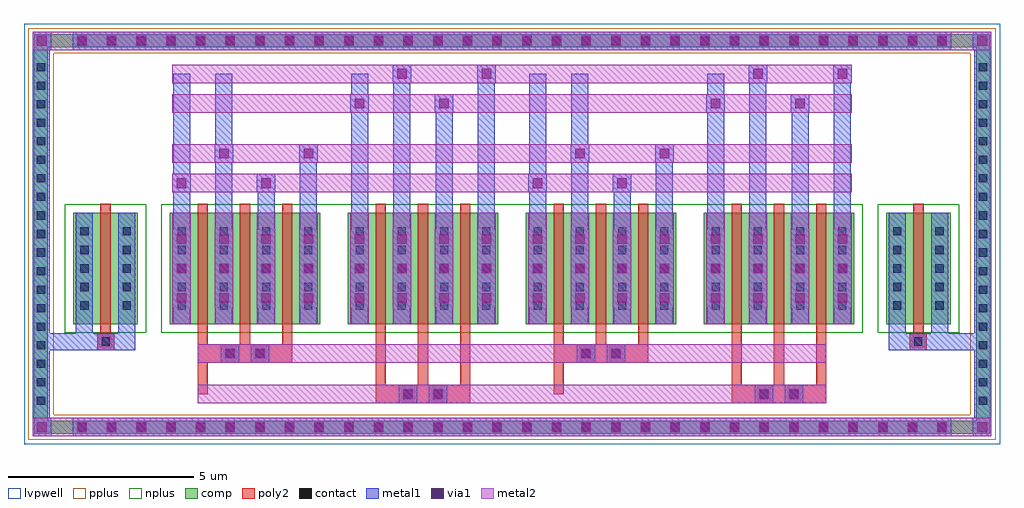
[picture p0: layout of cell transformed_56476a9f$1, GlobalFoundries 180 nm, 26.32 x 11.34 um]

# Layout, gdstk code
import gdstk
lib = gdstk.Library(unit=1e-6, precision=5e-09)
def R(c, l, rs):  # rectangles x0, y0, x1, y1
    for r in rs: c.add(gdstk.rectangle(r[:2], r[2:], *l))
def A(c, l, x, y, w, h, nx, ny, dx, dy):  # array of equal rectangles
    R(c, l, [(x+i*dx, y+j*dy, x+i*dx+w, y+j*dy+h) for i in range(nx) for j in range(ny)])
def P(c, l, *ps):  # polygons
    for p in ps: c.add(gdstk.Polygon(p, *l))
comp = (22, 0)
poly2 = (30, 0)
pplus = (31, 0)
nplus = (32, 0)
contact = (33, 0)
metal1 = (34, 0)
via1 = (35, 0)
metal2 = (36, 0)
lvpwell = (204, 0)

unnamed_ce760e79_1_1 = lib.new_cell('Unnamed_ce760e79$1$1')
A(unnamed_ce760e79_1_1, comp, -11.78, -5.39, 0.36, 0.36, 30, 2, 0.8, 10.42)
A(unnamed_ce760e79_1_1, comp, -12.88, -4.68, 0.36, 0.36, 1, 19, 0, 0.5)
A(unnamed_ce760e79_1_1, comp, 12.52, -4.68, 0.36, 0.36, 1, 19, 0, 0.5)
R(unnamed_ce760e79_1_1, comp, [(-11.78,-5.39,11.78,-5.03), (-12.88,-4.68,-12.52,4.68), (12.52,-4.68,12.88,4.68), (-11.78,5.03,11.78,5.39)])
P(unnamed_ce760e79_1_1, comp, [(-12.88,-5.39),(-12.88,-5.03),(-12.52,-5.03),(12.52,-5.03),(12.52,5.03),(-12.52,5.03),(-12.52,-5.03),(-12.88,-5.03),(-12.88,5.39),(12.88,5.39),(12.88,-5.39)])
P(unnamed_ce760e79_1_1, pplus, [(-13.04,-5.55),(-13.04,-4.87),(-12.36,-4.87),(12.36,-4.87),(12.36,4.87),(-12.36,4.87),(-12.36,-4.87),(-13.04,-4.87),(-13.04,5.55),(13.04,5.55),(13.04,-5.55)])
A(unnamed_ce760e79_1_1, contact, -11.71, -5.32, 0.22, 0.22, 30, 2, 0.8, 10.42)
A(unnamed_ce760e79_1_1, contact, -12.81, -4.61, 0.22, 0.22, 1, 19, 0, 0.5)
A(unnamed_ce760e79_1_1, contact, 12.59, -4.61, 0.22, 0.22, 1, 19, 0, 0.5)
A(unnamed_ce760e79_1_1, metal1, -11.85, -5.46, 0.5, 0.5, 30, 2, 0.8, 10.42)
A(unnamed_ce760e79_1_1, metal1, -12.93, -4.73, 0.46, 0.46, 1, 19, 0, 0.5)
A(unnamed_ce760e79_1_1, metal1, 12.47, -4.73, 0.46, 0.46, 1, 19, 0, 0.5)
R(unnamed_ce760e79_1_1, metal1, [(-12.93,-5.46,-12.43,-4.96), (-12.93,-5.46,-12.43,-4.96), (-12.93,-5.46,-12.47,-5.03), (-11.85,-5.46,11.85,-4.96), (12.43,-5.46,12.93,-4.96), (12.43,-5.46,12.93,-4.96), (12.47,-5.46,12.93,-5.03), (-12.93,-5.03,-12.47,5.03), (12.47,-5.03,12.93,5.03), (-12.93,4.96,-12.43,5.46), (-12.93,4.96,-12.43,5.46), (-11.85,4.96,11.85,5.46), (12.43,4.96,12.93,5.46), (12.43,4.96,12.93,5.46), (-12.93,5.03,-12.47,5.46), (12.47,5.03,12.93,5.46)])
A(unnamed_ce760e79_1_1, via1, -11.73, -5.34, 0.26, 0.26, 30, 2, 0.8, 10.42)
R(unnamed_ce760e79_1_1, via1, [(-12.81,-5.34,-12.55,-5.08), (12.55,-5.34,12.81,-5.08), (-12.81,5.08,-12.55,5.34), (12.55,5.08,12.81,5.34)])
A(unnamed_ce760e79_1_1, metal2, -11.85, -5.46, 0.5, 0.5, 30, 2, 0.8, 10.42)
R(unnamed_ce760e79_1_1, metal2, [(-12.93,-5.46,-12.52,-4.96), (-12.93,-5.46,-12.43,-4.96), (-12.93,-5.46,-12.43,-4.96), (-12.52,-5.46,12.52,-4.96), (12.43,-5.46,12.93,-4.96), (12.43,-5.46,12.93,-4.96), (12.52,-5.46,12.93,-4.96), (-12.93,4.96,-12.52,5.46), (-12.93,4.96,-12.43,5.46), (-12.93,4.96,-12.43,5.46), (-12.52,4.96,12.52,5.46), (12.43,4.96,12.93,5.46), (12.43,4.96,12.93,5.46), (12.52,4.96,12.93,5.46)])

straight_route_217dddb0_ = lib.new_cell('straight_route_217dddb0$1')
R(straight_route_217dddb0_, metal1, [(-12.93,-3.13,-11.19,-2.67)])

straight_route_a57194aa_ = lib.new_cell('straight_route_a57194aa$1')
R(straight_route_a57194aa_, metal1, [(11.19,-3.13,12.93,-2.67)])

transformed_56476a9f_1 = lib.new_cell('transformed_56476a9f$1')
A(transformed_56476a9f_1, comp, -9.23, -2.43, 4.06, 3, 4, 1, 4.8, 0)
R(transformed_56476a9f_1, comp, [(-11.83,-2.43,-10.09,0.57), (10.09,-2.43,11.83,0.57)])
A(transformed_56476a9f_1, poly2, -3.68, -4.07, 0.28, 1.4, 3, 1, 1.14, 0)
A(transformed_56476a9f_1, poly2, 5.92, -4.07, 0.28, 1.4, 3, 1, 1.14, 0)
A(transformed_56476a9f_1, poly2, -8.48, -2.97, 0.28, 0.3, 3, 1, 1.14, 0)
A(transformed_56476a9f_1, poly2, 1.12, -2.97, 0.28, 0.3, 3, 1, 1.14, 0)
A(transformed_56476a9f_1, poly2, -8.48, -2.67, 0.28, 3.48, 3, 1, 1.14, 0)
A(transformed_56476a9f_1, poly2, -3.68, -2.67, 0.28, 3.48, 3, 1, 1.14, 0)
A(transformed_56476a9f_1, poly2, 1.12, -2.67, 0.28, 3.48, 3, 1, 1.14, 0)
A(transformed_56476a9f_1, poly2, 5.92, -2.67, 0.28, 3.48, 3, 1, 1.14, 0)
R(transformed_56476a9f_1, poly2, [(-3.68,-4.57,-1.12,-4.07), (5.92,-4.57,8.48,-4.07), (-2.98,-4.5,-2.62,-4.14), (-2.18,-4.5,-1.82,-4.14), (6.62,-4.5,6.98,-4.14), (7.42,-4.5,7.78,-4.14), (-8.48,-4.32,-8.2,-2.67), (1.12,-4.32,1.4,-2.67), (-8.48,-3.47,-5.92,-2.97), (1.12,-3.47,3.68,-2.97), (-7.78,-3.4,-7.42,-3.04), (-6.98,-3.4,-6.62,-3.04), (1.82,-3.4,2.18,-3.04), (2.62,-3.4,2.98,-3.04), (-11.19,-3.13,-10.73,-2.67), (10.73,-3.13,11.19,-2.67), (-11.14,-3.08,-10.78,-2.72), (10.78,-3.08,11.14,-2.72), (-11.1,-2.67,-10.82,0.81), (10.82,-2.67,11.1,0.81)])
A(transformed_56476a9f_1, nplus, -9.46, -2.66, 4.52, 3.46, 4, 1, 4.8, 0)
R(transformed_56476a9f_1, nplus, [(-12.06,-2.66,-9.86,0.8), (-9.46,-2.66,9.46,0.8), (9.86,-2.66,12.06,0.8)])
A(transformed_56476a9f_1, contact, -11.64, -2.04, 0.22, 0.22, 1, 5, 0, 0.5)
A(transformed_56476a9f_1, contact, -10.5, -2.04, 0.22, 0.22, 1, 5, 0, 0.5)
A(transformed_56476a9f_1, contact, -9.02, -2.04, 0.22, 0.22, 4, 5, 1.14, 0.5)
A(transformed_56476a9f_1, contact, -4.22, -2.04, 0.22, 0.22, 4, 5, 1.14, 0.5)
A(transformed_56476a9f_1, contact, 0.58, -2.04, 0.22, 0.22, 4, 5, 1.14, 0.5)
A(transformed_56476a9f_1, contact, 5.38, -2.04, 0.22, 0.22, 4, 5, 1.14, 0.5)
A(transformed_56476a9f_1, contact, 10.28, -2.04, 0.22, 0.22, 1, 5, 0, 0.5)
A(transformed_56476a9f_1, contact, 11.42, -2.04, 0.22, 0.22, 1, 5, 0, 0.5)
R(transformed_56476a9f_1, contact, [(-2.91,-4.43,-2.69,-4.21), (-2.11,-4.43,-1.89,-4.21), (6.69,-4.43,6.91,-4.21), (7.49,-4.43,7.71,-4.21), (-7.71,-3.33,-7.49,-3.11), (-6.91,-3.33,-6.69,-3.11), (1.89,-3.33,2.11,-3.11), (2.69,-3.33,2.91,-3.11), (-11.07,-3.01,-10.85,-2.79), (10.85,-3.01,11.07,-2.79)])
A(transformed_56476a9f_1, metal1, -9.14, -2.43, 0.46, 3, 4, 1, 1.14, 0)
A(transformed_56476a9f_1, metal1, -4.34, -2.43, 0.46, 3, 4, 1, 1.14, 0)
A(transformed_56476a9f_1, metal1, 0.46, -2.43, 0.46, 3, 4, 1, 1.14, 0)
A(transformed_56476a9f_1, metal1, 5.26, -2.43, 0.46, 3, 4, 1, 1.14, 0)
A(transformed_56476a9f_1, metal1, -11.76, -2.16, 0.46, 0.46, 1, 5, 0, 0.5)
A(transformed_56476a9f_1, metal1, -10.62, -2.16, 0.46, 0.46, 1, 5, 0, 0.5)
A(transformed_56476a9f_1, metal1, -9.14, -2.16, 0.46, 0.46, 4, 5, 1.14, 0.5)
A(transformed_56476a9f_1, metal1, -4.34, -2.16, 0.46, 0.46, 4, 5, 1.14, 0.5)
A(transformed_56476a9f_1, metal1, 0.46, -2.16, 0.46, 0.46, 4, 5, 1.14, 0.5)
A(transformed_56476a9f_1, metal1, 5.26, -2.16, 0.46, 0.46, 4, 5, 1.14, 0.5)
A(transformed_56476a9f_1, metal1, 10.16, -2.16, 0.46, 0.46, 1, 5, 0, 0.5)
A(transformed_56476a9f_1, metal1, 11.3, -2.16, 0.46, 0.46, 1, 5, 0, 0.5)
A(transformed_56476a9f_1, metal1, -9.16, -1.98, 0.5, 0.5, 4, 3, 1.14, 0.8)
A(transformed_56476a9f_1, metal1, -9.16, -1.98, 0.5, 2.1, 4, 1, 1.14, 0)
A(transformed_56476a9f_1, metal1, -4.36, -1.98, 0.5, 0.5, 4, 3, 1.14, 0.8)
A(transformed_56476a9f_1, metal1, -4.36, -1.98, 0.5, 2.1, 4, 1, 1.14, 0)
A(transformed_56476a9f_1, metal1, 0.44, -1.98, 0.5, 0.5, 4, 3, 1.14, 0.8)
A(transformed_56476a9f_1, metal1, 0.44, -1.98, 0.5, 2.1, 4, 1, 1.14, 0)
A(transformed_56476a9f_1, metal1, 5.24, -1.98, 0.5, 0.5, 4, 3, 1.14, 0.8)
A(transformed_56476a9f_1, metal1, 5.24, -1.98, 0.5, 2.1, 4, 1, 1.14, 0)
R(transformed_56476a9f_1, metal1, [(-3.05,-4.57,-2.55,-4.07), (-2.25,-4.57,-1.75,-4.07), (6.55,-4.57,7.05,-4.07), (7.35,-4.57,7.85,-4.07), (-7.85,-3.47,-7.35,-2.97), (-7.05,-3.47,-6.55,-2.97), (1.75,-3.47,2.25,-2.97), (2.55,-3.47,3.05,-2.97), (-11.76,-3.13,-11.19,-2.67), (-11.76,-3.13,-11.3,-2.43), (-11.19,-3.13,-10.73,-2.67), (-10.73,-3.13,-10.16,-2.67), (-10.62,-3.13,-10.16,-2.43), (10.16,-3.13,10.73,-2.67), (10.16,-3.13,10.62,-2.43), (10.73,-3.13,11.19,-2.67), (11.19,-3.13,11.76,-2.67), (11.3,-3.13,11.76,-2.43), (-11.76,-2.43,-11.3,0.57), (-10.62,-2.43,-10.16,0.57), (10.16,-2.43,10.62,0.57), (11.3,-2.43,11.76,0.57), (-9.14,0.57,-8.68,1.62), (-9.14,0.57,-8.68,4.32), (-8,0.57,-7.54,2.42), (-8,0.57,-7.54,4.32), (-6.86,0.57,-6.4,1.62), (-5.72,0.57,-5.26,2.42), (-4.34,0.57,-3.88,3.77), (-4.34,0.57,-3.88,4.32), (-3.2,0.57,-2.74,4.57), (-3.2,0.57,-2.74,4.32), (-2.06,0.57,-1.6,3.77), (-0.92,0.57,-0.46,4.57), (0.46,0.57,0.92,1.62), (0.46,0.57,0.92,4.32), (1.6,0.57,2.06,2.42), (1.6,0.57,2.06,4.32), (2.74,0.57,3.2,1.62), (3.88,0.57,4.34,2.42), (5.26,0.57,5.72,3.77), (5.26,0.57,5.72,4.32), (6.4,0.57,6.86,4.57), (6.4,0.57,6.86,4.32), (7.54,0.57,8,3.77), (8.68,0.57,9.14,4.57), (-9.16,1.12,-8.66,1.62), (-6.88,1.12,-6.38,1.62), (0.44,1.12,0.94,1.62), (2.72,1.12,3.22,1.62), (-8.02,1.92,-7.52,2.42), (-5.74,1.92,-5.24,2.42), (1.58,1.92,2.08,2.42), (3.86,1.92,4.36,2.42), (-4.36,3.27,-3.86,3.77), (-2.08,3.27,-1.58,3.77), (5.24,3.27,5.74,3.77), (7.52,3.27,8.02,3.77), (-3.22,4.07,-2.72,4.57), (-0.94,4.07,-0.44,4.57), (6.38,4.07,6.88,4.57), (8.66,4.07,9.16,4.57)])
A(transformed_56476a9f_1, via1, -9.04, -1.86, 0.26, 0.26, 4, 3, 1.14, 0.8)
A(transformed_56476a9f_1, via1, -4.24, -1.86, 0.26, 0.26, 4, 3, 1.14, 0.8)
A(transformed_56476a9f_1, via1, 0.56, -1.86, 0.26, 0.26, 4, 3, 1.14, 0.8)
A(transformed_56476a9f_1, via1, 5.36, -1.86, 0.26, 0.26, 4, 3, 1.14, 0.8)
R(transformed_56476a9f_1, via1, [(-2.93,-4.45,-2.67,-4.19), (-2.13,-4.45,-1.87,-4.19), (6.67,-4.45,6.93,-4.19), (7.47,-4.45,7.73,-4.19), (-7.73,-3.35,-7.47,-3.09), (-6.93,-3.35,-6.67,-3.09), (1.87,-3.35,2.13,-3.09), (2.67,-3.35,2.93,-3.09), (-9.04,1.24,-8.78,1.5), (-6.76,1.24,-6.5,1.5), (0.56,1.24,0.82,1.5), (2.84,1.24,3.1,1.5), (-7.9,2.04,-7.64,2.3), (-5.62,2.04,-5.36,2.3), (1.7,2.04,1.96,2.3), (3.98,2.04,4.24,2.3), (-4.24,3.39,-3.98,3.65), (-1.96,3.39,-1.7,3.65), (5.36,3.39,5.62,3.65), (7.64,3.39,7.9,3.65), (-3.1,4.19,-2.84,4.45), (-0.82,4.19,-0.56,4.45), (6.5,4.19,6.76,4.45), (8.78,4.19,9.04,4.45)])
A(transformed_56476a9f_1, metal2, -9.16, -2.43, 0.5, 3, 4, 1, 1.14, 0)
A(transformed_56476a9f_1, metal2, -4.36, -2.43, 0.5, 3, 4, 1, 1.14, 0)
A(transformed_56476a9f_1, metal2, 0.44, -2.43, 0.5, 3, 4, 1, 1.14, 0)
A(transformed_56476a9f_1, metal2, 5.24, -2.43, 0.5, 3, 4, 1, 1.14, 0)
A(transformed_56476a9f_1, metal2, -9.16, -1.98, 0.5, 0.5, 4, 3, 1.14, 0.8)
A(transformed_56476a9f_1, metal2, -4.36, -1.98, 0.5, 0.5, 4, 3, 1.14, 0.8)
A(transformed_56476a9f_1, metal2, 0.44, -1.98, 0.5, 0.5, 4, 3, 1.14, 0.8)
A(transformed_56476a9f_1, metal2, 5.24, -1.98, 0.5, 0.5, 4, 3, 1.14, 0.8)
R(transformed_56476a9f_1, metal2, [(-8.48,-4.57,8.48,-4.07), (-3.68,-4.57,-1.12,-4.07), (-3.05,-4.57,-2.55,-4.07), (-2.25,-4.57,-1.75,-4.07), (5.92,-4.57,8.48,-4.07), (6.55,-4.57,7.05,-4.07), (7.35,-4.57,7.85,-4.07), (-8.48,-3.47,8.48,-2.97), (-8.48,-3.47,-5.92,-2.97), (-7.85,-3.47,-7.35,-2.97), (-7.05,-3.47,-6.55,-2.97), (1.12,-3.47,3.68,-2.97), (1.75,-3.47,2.25,-2.97), (2.55,-3.47,3.05,-2.97), (-9.16,1.12,-8.66,1.62), (-9.16,1.12,9.16,1.62), (-9.16,1.12,-5.24,1.62), (-6.88,1.12,-6.38,1.62), (0.44,1.12,0.94,1.62), (0.44,1.12,4.36,1.62), (2.72,1.12,3.22,1.62), (-9.16,1.92,9.16,2.42), (-9.16,1.92,-5.24,2.42), (-8.02,1.92,-7.52,2.42), (-5.74,1.92,-5.24,2.42), (0.44,1.92,4.36,2.42), (1.58,1.92,2.08,2.42), (3.86,1.92,4.36,2.42), (-9.16,3.27,9.16,3.77), (-4.36,3.27,-3.86,3.77), (-4.36,3.27,-0.44,3.77), (-2.08,3.27,-1.58,3.77), (5.24,3.27,5.74,3.77), (5.24,3.27,9.16,3.77), (7.52,3.27,8.02,3.77), (-9.16,4.07,9.16,4.57), (-4.36,4.07,-0.44,4.57), (-3.22,4.07,-2.72,4.57), (-0.94,4.07,-0.44,4.57), (5.24,4.07,9.16,4.57), (6.38,4.07,6.88,4.57), (8.66,4.07,9.16,4.57)])
R(transformed_56476a9f_1, lvpwell, [(-13.16,-5.67,13.16,5.67)])
transformed_56476a9f_1.add(gdstk.Reference(unnamed_ce760e79_1_1, (0,0)))
transformed_56476a9f_1.add(gdstk.Reference(straight_route_217dddb0_, (0,0)))
transformed_56476a9f_1.add(gdstk.Reference(straight_route_a57194aa_, (0,0)))

lib.write_gds('transformed_56476a9f_1.gds')
